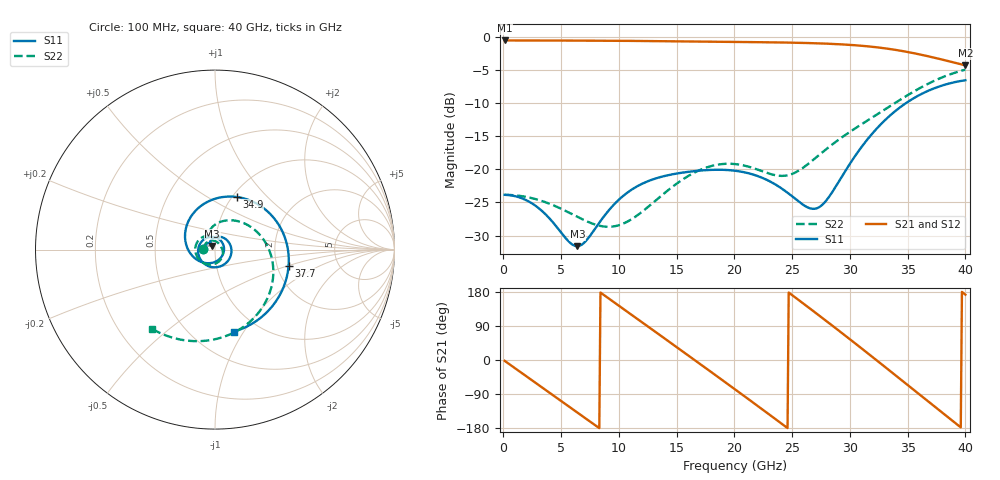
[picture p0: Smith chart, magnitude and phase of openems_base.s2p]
! C_s8_offset: L1→L8, antipad Ø0.9 offset 0.1 mm from the via
! stackup: 8-layer 1.6 mm FR-4 (generic)
! ports: 1, 2
! openEMS 0.37.0, staircase, base mesh (dfine 0.035 mm), 626535 cells
# Hz S RI R 50
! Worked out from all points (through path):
!   400 points, 100 MHz to 40 GHz, reference 50 ohm
!   highest |S21| = -0.58 dB at 100 MHz (marker M1); lowest = -4.3 dB at 40 GHz (marker M2)
!   group delay of S21, straight-line fit = 62.7 ps
!   lowest |S11| = -31.6 dB at 6.4 GHz (marker M3), VSWR 1.05, Z = 48.4 + j2.02 ohm
!   |S11| at or under -10 dB: start of sweep to 34.88 GHz
!   |S22| runs from -28.7 to -5.0 dB; largest |S21 - S12| = 0.0067
!   S11 on the Smith chart (normalised r, x): 100 MHz: 0.88, +0.00; 34.9 GHz: 1.05, +0.68; 37.7 GHz: 2.31, -0.51; 40 GHz: 0.78, -0.91
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1e8  -0.0641 0.00178  0.935 -0.0353  0.9351 -0.0353  -0.0641 0.00181
1.7e9  -0.0535 0.0269  0.749 -0.5603  0.749 -0.5603  -0.0553 0.0289
3.5e9  -0.0292 0.0368  0.23 -0.906  0.23 -0.906  -0.0308 0.0479
6.4e9  -0.016 0.0209  -0.6999 -0.6174  -0.6998 -0.6174  0.0112 0.0423
6.8e9  -0.0182 0.02  -0.7848 -0.5046  -0.7847 -0.5046  0.0152 0.0392
9.6e9  -0.0247 0.0486  -0.8209 0.4383  -0.8211 0.4382  0.034 0.0149
1.16e10  0.0179 0.0723  -0.2915 0.8809  -0.2917 0.8813  0.0436 -0.0108
1.34e10  0.0735 0.0452  0.3316 0.8631  0.332 0.8636  0.0366 -0.0479
1.52e10  0.0893 -0.0273  0.8009 0.4545  0.8015 0.4541  -0.00343 -0.08
1.67e10  0.05 -0.0832  0.9161 -0.0537  0.9161 -0.0545  -0.0551 -0.0784
1.82e10  -0.0186 -0.0972  0.7364 -0.5428  0.7357 -0.5431  -0.0979 -0.0426
2.01e10  -0.0863 -0.0448  0.1821 -0.8933  0.1818 -0.8927  -0.1064 0.0246
2.18e10  -0.0858 0.0275  -0.4044 -0.8138  -0.4042 -0.8135  -0.0772 0.0648
2.37e10  -0.0257 0.0708  -0.8457 -0.3206  -0.8457 -0.3204  -0.0465 0.0766
2.52e10  0.0283 0.0534  -0.8752 0.2082  -0.8747 0.2088  -0.0378 0.0858
2.67e10  0.0503 -0.00115  -0.599 0.6623  -0.5974 0.6619  -0.0258 0.1124
2.95e10  -0.0574 -0.0741  0.3458 0.8005  0.3431 0.7984  0.0724 0.1634
3.15e10  -0.163 0.037  0.8001 0.274  0.7974 0.2781  0.1919 0.1311
3.34e10  -0.0898 0.2341  0.7194 -0.3677  0.7245 -0.3645  0.2958 0.0116
3.49e10  0.1212 0.2931  0.3417 -0.6886  0.3468 -0.6928  0.3239 -0.1514
3.77e10  0.4098 -0.0903  -0.4531 -0.5082  -0.4595 -0.5089  0.0781 -0.4747
4e10  0.1071 -0.4566  -0.6017 0.08  -0.6008 0.0854  -0.3488 -0.4426
